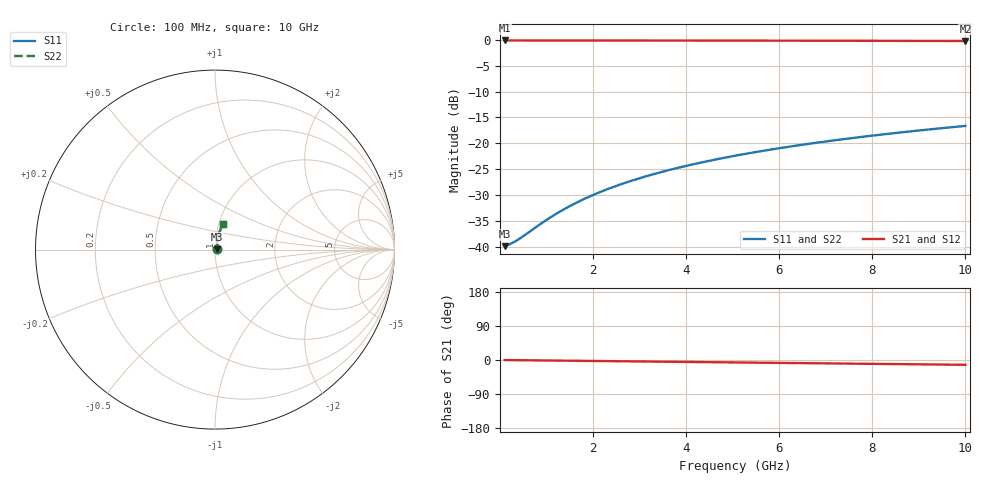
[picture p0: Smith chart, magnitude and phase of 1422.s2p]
# Hz S RI R 50.00
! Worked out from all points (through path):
!   100 points, 100 MHz to 10 GHz, reference 50 ohm
!   highest |S21| = -0.09 dB at 100 MHz (marker M1); lowest = -0.2 dB at 10 GHz (marker M2)
!   group delay of S21, straight-line fit = 3.52 ps
!   lowest |S11| = -39.9 dB at 100 MHz (marker M3), VSWR 1.02, Z = 51 + j0.15 ohm
!   |S11| at or under -10 dB: start of sweep to end of sweep
!   |S22| runs from -39.9 to -16.6 dB; largest |S21 - S12| = 0
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1e8  0.00998 0.00147  0.99 -0.0022  0.99 -0.0022  0.00998 0.00147
2e8  0.0101 0.00294  0.9899 -0.0044  0.9899 -0.0044  0.0101 0.00294
3e8  0.0101 0.0044  0.9899 -0.0066  0.9899 -0.0066  0.0101 0.0044
4e8  0.0102 0.00587  0.9898 -0.0088  0.9898 -0.0088  0.0102 0.00587
9e8  0.0105 0.0132  0.9894 -0.0198  0.9894 -0.0198  0.0105 0.0132
1.2e9  0.0108 0.0176  0.9892 -0.0264  0.9892 -0.0264  0.0108 0.0176
1.5e9  0.0111 0.022  0.9888 -0.033  0.9888 -0.033  0.0111 0.022
1.8e9  0.0115 0.0264  0.9884 -0.0396  0.9884 -0.0396  0.0115 0.0264
2.1e9  0.0119 0.0307  0.988 -0.0461  0.988 -0.0461  0.0119 0.0307
2.5e9  0.0125 0.0366  0.9873 -0.0549  0.9873 -0.0549  0.0125 0.0366
2.9e9  0.0133 0.0424  0.9865 -0.0636  0.9865 -0.0636  0.0133 0.0424
3.4e9  0.0143 0.0496  0.9853 -0.0745  0.9853 -0.0745  0.0143 0.0496
3.8e9  0.0153 0.0554  0.9843 -0.0833  0.9843 -0.0833  0.0153 0.0554
4.2e9  0.0164 0.0611  0.9831 -0.0919  0.9831 -0.0919  0.0164 0.0611
4.6e9  0.0175 0.0669  0.9818 -0.1006  0.9818 -0.1006  0.0175 0.0669
5.1e9  0.0191 0.074  0.9801 -0.1114  0.9801 -0.1114  0.0191 0.074
5.9e9  0.022 0.0853  0.977 -0.1286  0.977 -0.1286  0.022 0.0853
6.7e9  0.0253 0.0965  0.9734 -0.1456  0.9734 -0.1456  0.0253 0.0965
7.5e9  0.029 0.1075  0.9695 -0.1626  0.9695 -0.1626  0.029 0.1075
8.4e9  0.0335 0.1197  0.9645 -0.1814  0.9645 -0.1814  0.0335 0.1197
9.2e9  0.038 0.1304  0.9597 -0.198  0.9597 -0.198  0.038 0.1304
1e10  0.0428 0.1409  0.9544 -0.2144  0.9544 -0.2144  0.0428 0.1409
